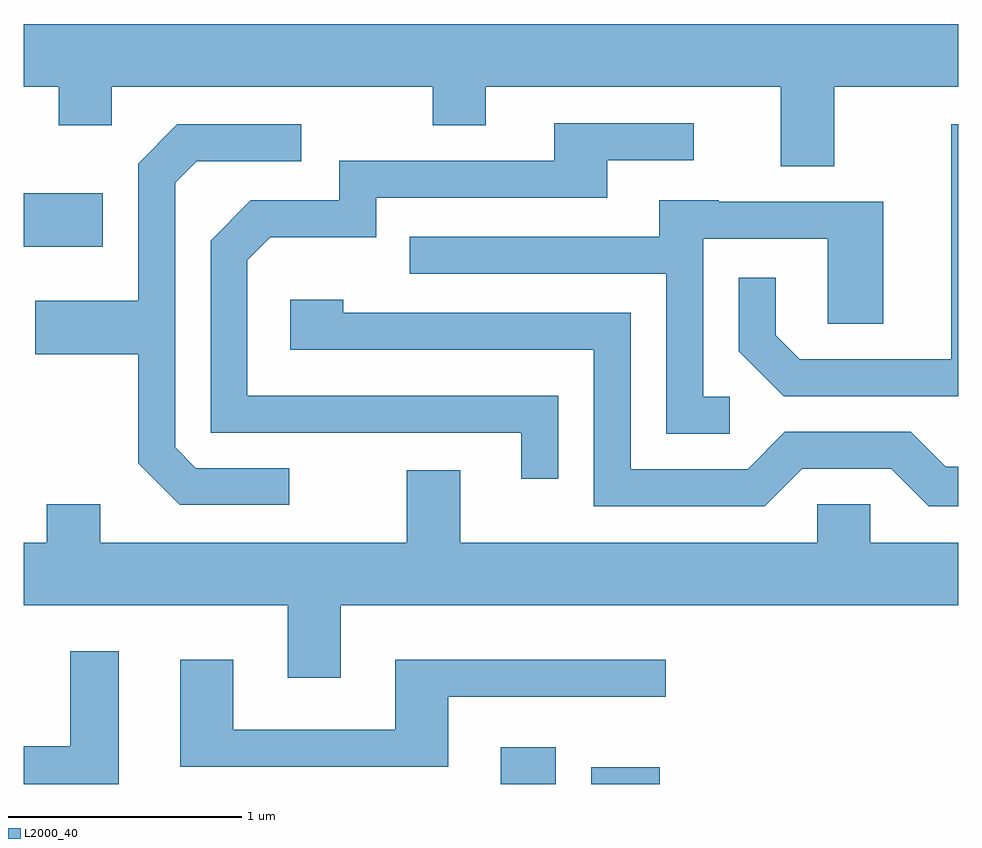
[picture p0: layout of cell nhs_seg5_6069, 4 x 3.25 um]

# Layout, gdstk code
import gdstk
lib = gdstk.Library(unit=1e-6, precision=1e-09)
def R(c, l, rs):  # rectangles x0, y0, x1, y1
    for r in rs: c.add(gdstk.rectangle(r[:2], r[2:], *l))
def P(c, l, *ps):  # polygons
    for p in ps: c.add(gdstk.Polygon(p, *l))
L2000_40 = (2000, 40)

nhs_seg5_6069 = lib.new_cell('nhs_seg5_6069')
R(nhs_seg5_6069, L2000_40, [(367.653,1416.072,367.889,1416.229), (368.041,1416.072,368.334,1416.144), (365.611,1418.371,365.949,1418.599)])
P(nhs_seg5_6069, L2000_40, [(369.079,1419.056),(369.611,1419.056),(369.611,1419.324),(365.611,1419.324),(365.611,1419.056),(365.761,1419.056),(365.761,1418.891),(365.989,1418.891),(365.989,1419.056),(367.361,1419.056),(367.361,1418.891),(367.589,1418.891),(367.589,1419.056),(368.851,1419.056),(368.851,1418.716),(369.079,1418.716)],
  [(367.899,1417.734),(366.569,1417.734),(366.569,1418.314),(366.667,1418.411),(367.119,1418.411),(367.119,1418.581),(368.109,1418.581),(368.109,1418.741),(368.478,1418.741),(368.478,1418.899),(367.881,1418.899),(367.881,1418.739),(366.961,1418.739),(366.961,1418.569),(366.584,1418.569),(366.411,1418.397),(366.411,1417.576),(367.741,1417.576),(367.741,1417.378),(367.899,1417.378)],
  [(366.748,1417.424),(366.347,1417.424),(366.259,1417.512),(366.259,1418.644),(366.352,1418.736),(366.798,1418.736),(366.798,1418.894),(366.269,1418.894),(366.101,1418.727),(366.101,1418.139),(365.661,1418.139),(365.661,1417.911),(366.101,1417.911),(366.101,1417.444),(366.279,1417.266),(366.748,1417.266)],
  [(369.611,1418.894),(369.581,1418.894),(369.581,1417.889),(368.932,1417.889),(368.829,1417.992),(368.829,1418.238),(368.671,1418.238),(368.671,1417.924),(368.864,1417.731),(369.611,1417.731)],
  [(368.633,1417.729),(368.519,1417.729),(368.519,1418.406),(369.051,1418.406),(369.051,1418.041),(369.289,1418.041),(369.289,1418.564),(368.585,1418.564),(368.585,1418.569),(368.331,1418.569),(368.331,1418.414),(367.263,1418.414),(367.263,1418.256),(368.361,1418.256),(368.361,1417.571),(368.633,1417.571)],
  [(368.942,1417.421),(369.324,1417.421),(369.484,1417.261),(369.611,1417.261),(369.611,1417.429),(369.557,1417.429),(369.407,1417.579),(368.869,1417.579),(368.709,1417.419),(368.209,1417.419),(368.209,1418.089),(366.979,1418.089),(366.979,1418.144),(366.751,1418.144),(366.751,1417.931),(368.051,1417.931),(368.051,1417.261),(368.782,1417.261)],
  [(366.969,1416.836),(369.611,1416.836),(369.611,1417.104),(369.234,1417.104),(369.234,1417.269),(369.006,1417.269),(369.006,1417.104),(367.479,1417.104),(367.479,1417.414),(367.251,1417.414),(367.251,1417.104),(365.939,1417.104),(365.939,1417.269),(365.711,1417.269),(365.711,1417.104),(365.611,1417.104),(365.611,1416.836),(366.741,1416.836),(366.741,1416.526),(366.969,1416.526)],
  [(366.019,1416.639),(365.811,1416.639),(365.811,1416.234),(365.611,1416.234),(365.611,1416.072),(366.019,1416.072)],
  [(367.429,1416.446),(368.358,1416.446),(368.358,1416.604),(367.201,1416.604),(367.201,1416.304),(366.509,1416.304),(366.509,1416.604),(366.281,1416.604),(366.281,1416.146),(367.429,1416.146)])

lib.write_gds('nhs_seg5_6069.gds')
